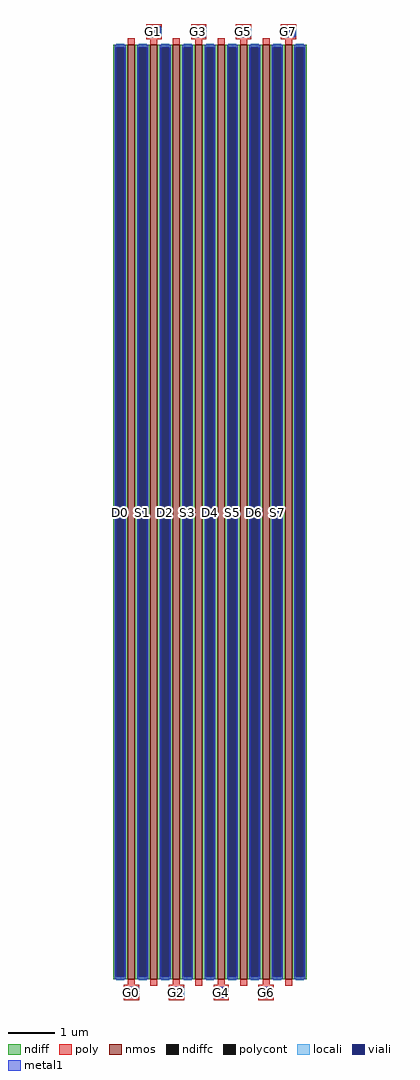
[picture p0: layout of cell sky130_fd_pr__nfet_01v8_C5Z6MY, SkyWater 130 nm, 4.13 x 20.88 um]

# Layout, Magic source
magic
tech sky130A
magscale 1 2
<< nmos >>
rect -351 -2000 -321 2000
rect -255 -2000 -225 2000
rect -159 -2000 -129 2000
rect -63 -2000 -33 2000
rect 33 -2000 63 2000
rect 129 -2000 159 2000
rect 225 -2000 255 2000
rect 321 -2000 351 2000
<< ndiff >>
rect -413 1988 -351 2000
rect -413 -1988 -401 1988
rect -367 -1988 -351 1988
rect -413 -2000 -351 -1988
rect -321 1988 -255 2000
rect -321 -1988 -305 1988
rect -271 -1988 -255 1988
rect -321 -2000 -255 -1988
rect -225 1988 -159 2000
rect -225 -1988 -209 1988
rect -175 -1988 -159 1988
rect -225 -2000 -159 -1988
rect -129 1988 -63 2000
rect -129 -1988 -113 1988
rect -79 -1988 -63 1988
rect -129 -2000 -63 -1988
rect -33 1988 33 2000
rect -33 -1988 -17 1988
rect 17 -1988 33 1988
rect -33 -2000 33 -1988
rect 63 1988 129 2000
rect 63 -1988 79 1988
rect 113 -1988 129 1988
rect 63 -2000 129 -1988
rect 159 1988 225 2000
rect 159 -1988 175 1988
rect 209 -1988 225 1988
rect 159 -2000 225 -1988
rect 255 1988 321 2000
rect 255 -1988 271 1988
rect 305 -1988 321 1988
rect 255 -2000 321 -1988
rect 351 1988 413 2000
rect 351 -1988 367 1988
rect 401 -1988 413 1988
rect 351 -2000 413 -1988
<< ndiffc >>
rect -401 -1988 -367 1988
rect -305 -1988 -271 1988
rect -209 -1988 -175 1988
rect -113 -1988 -79 1988
rect -17 -1988 17 1988
rect 79 -1988 113 1988
rect 175 -1988 209 1988
rect 271 -1988 305 1988
rect 367 -1988 401 1988
<< poly >>
rect -273 2072 -207 2088
rect -273 2038 -257 2072
rect -223 2038 -207 2072
rect -351 2000 -321 2026
rect -273 2022 -207 2038
rect -81 2072 -15 2088
rect -81 2038 -65 2072
rect -31 2038 -15 2072
rect -255 2000 -225 2022
rect -159 2000 -129 2026
rect -81 2022 -15 2038
rect 111 2072 177 2088
rect 111 2038 127 2072
rect 161 2038 177 2072
rect -63 2000 -33 2022
rect 33 2000 63 2026
rect 111 2022 177 2038
rect 303 2072 369 2088
rect 303 2038 319 2072
rect 353 2038 369 2072
rect 129 2000 159 2022
rect 225 2000 255 2026
rect 303 2022 369 2038
rect 321 2000 351 2022
rect -351 -2022 -321 -2000
rect -369 -2038 -303 -2022
rect -255 -2026 -225 -2000
rect -159 -2022 -129 -2000
rect -369 -2072 -353 -2038
rect -319 -2072 -303 -2038
rect -369 -2088 -303 -2072
rect -177 -2038 -111 -2022
rect -63 -2026 -33 -2000
rect 33 -2022 63 -2000
rect -177 -2072 -161 -2038
rect -127 -2072 -111 -2038
rect -177 -2088 -111 -2072
rect 15 -2038 81 -2022
rect 129 -2026 159 -2000
rect 225 -2022 255 -2000
rect 15 -2072 31 -2038
rect 65 -2072 81 -2038
rect 15 -2088 81 -2072
rect 207 -2038 273 -2022
rect 321 -2026 351 -2000
rect 207 -2072 223 -2038
rect 257 -2072 273 -2038
rect 207 -2088 273 -2072
<< polycont >>
rect -257 2038 -223 2072
rect -65 2038 -31 2072
rect 127 2038 161 2072
rect 319 2038 353 2072
rect -353 -2072 -319 -2038
rect -161 -2072 -127 -2038
rect 31 -2072 65 -2038
rect 223 -2072 257 -2038
<< locali >>
rect -273 2038 -257 2072
rect -223 2038 -207 2072
rect -81 2038 -65 2072
rect -31 2038 -15 2072
rect 111 2038 127 2072
rect 161 2038 177 2072
rect 303 2038 319 2072
rect 353 2038 369 2072
rect -401 1988 -367 2004
rect -401 -2004 -367 -1988
rect -305 1988 -271 2004
rect -305 -2004 -271 -1988
rect -209 1988 -175 2004
rect -209 -2004 -175 -1988
rect -113 1988 -79 2004
rect -113 -2004 -79 -1988
rect -17 1988 17 2004
rect -17 -2004 17 -1988
rect 79 1988 113 2004
rect 79 -2004 113 -1988
rect 175 1988 209 2004
rect 175 -2004 209 -1988
rect 271 1988 305 2004
rect 271 -2004 305 -1988
rect 367 1988 401 2004
rect 367 -2004 401 -1988
rect -369 -2072 -353 -2038
rect -319 -2072 -303 -2038
rect -177 -2072 -161 -2038
rect -127 -2072 -111 -2038
rect 15 -2072 31 -2038
rect 65 -2072 81 -2038
rect 207 -2072 223 -2038
rect 257 -2072 273 -2038
<< viali >>
rect -257 2038 -223 2072
rect -65 2038 -31 2072
rect 127 2038 161 2072
rect 319 2038 353 2072
rect -401 -1988 -367 1988
rect -305 -1988 -271 1988
rect -209 -1988 -175 1988
rect -113 -1988 -79 1988
rect -17 -1988 17 1988
rect 79 -1988 113 1988
rect 175 -1988 209 1988
rect 271 -1988 305 1988
rect 367 -1988 401 1988
rect -353 -2072 -319 -2038
rect -161 -2072 -127 -2038
rect 31 -2072 65 -2038
rect 223 -2072 257 -2038
<< metal1 >>
rect -269 2072 -211 2078
rect -269 2038 -257 2072
rect -223 2038 -211 2072
rect -269 2032 -211 2038
rect -77 2072 -19 2078
rect -77 2038 -65 2072
rect -31 2038 -19 2072
rect -77 2032 -19 2038
rect 115 2072 173 2078
rect 115 2038 127 2072
rect 161 2038 173 2072
rect 115 2032 173 2038
rect 307 2072 365 2078
rect 307 2038 319 2072
rect 353 2038 365 2072
rect 307 2032 365 2038
rect -407 1988 -361 2000
rect -407 -1988 -401 1988
rect -367 -1988 -361 1988
rect -407 -2000 -361 -1988
rect -311 1988 -265 2000
rect -311 -1988 -305 1988
rect -271 -1988 -265 1988
rect -311 -2000 -265 -1988
rect -215 1988 -169 2000
rect -215 -1988 -209 1988
rect -175 -1988 -169 1988
rect -215 -2000 -169 -1988
rect -119 1988 -73 2000
rect -119 -1988 -113 1988
rect -79 -1988 -73 1988
rect -119 -2000 -73 -1988
rect -23 1988 23 2000
rect -23 -1988 -17 1988
rect 17 -1988 23 1988
rect -23 -2000 23 -1988
rect 73 1988 119 2000
rect 73 -1988 79 1988
rect 113 -1988 119 1988
rect 73 -2000 119 -1988
rect 169 1988 215 2000
rect 169 -1988 175 1988
rect 209 -1988 215 1988
rect 169 -2000 215 -1988
rect 265 1988 311 2000
rect 265 -1988 271 1988
rect 305 -1988 311 1988
rect 265 -2000 311 -1988
rect 361 1988 407 2000
rect 361 -1988 367 1988
rect 401 -1988 407 1988
rect 361 -2000 407 -1988
rect -365 -2038 -307 -2032
rect -365 -2072 -353 -2038
rect -319 -2072 -307 -2038
rect -365 -2078 -307 -2072
rect -173 -2038 -115 -2032
rect -173 -2072 -161 -2038
rect -127 -2072 -115 -2038
rect -173 -2078 -115 -2072
rect 19 -2038 77 -2032
rect 19 -2072 31 -2038
rect 65 -2072 77 -2038
rect 19 -2078 77 -2072
rect 211 -2038 269 -2032
rect 211 -2072 223 -2038
rect 257 -2072 269 -2038
rect 211 -2078 269 -2072
<< labels >>
rlabel ndiffc -384 0 -384 0 0 D0
port 1 nsew
rlabel polycont -336 -2055 -336 -2055 0 G0
port 2 nsew
rlabel ndiffc -288 0 -288 0 0 S1
port 3 nsew
rlabel polycont -240 2055 -240 2055 0 G1
port 4 nsew
rlabel ndiffc -192 0 -192 0 0 D2
port 5 nsew
rlabel polycont -144 -2055 -144 -2055 0 G2
port 6 nsew
rlabel ndiffc -96 0 -96 0 0 S3
port 7 nsew
rlabel polycont -48 2055 -48 2055 0 G3
port 8 nsew
rlabel ndiffc 0 0 0 0 0 D4
port 9 nsew
rlabel polycont 48 -2055 48 -2055 0 G4
port 10 nsew
rlabel ndiffc 96 0 96 0 0 S5
port 11 nsew
rlabel polycont 144 2055 144 2055 0 G5
port 12 nsew
rlabel ndiffc 192 0 192 0 0 D6
port 13 nsew
rlabel polycont 240 -2055 240 -2055 0 G6
port 14 nsew
rlabel ndiffc 288 0 288 0 0 S7
port 15 nsew
rlabel polycont 336 2055 336 2055 0 G7
port 16 nsew
<< properties >>
string gencell sky130_fd_pr__nfet_01v8
string library sky130
string parameters w 20 l 0.150 m 1 nf 8 diffcov 100 polycov 100 guard 0 glc 1 grc 1 gtc 1 gbc 1 tbcov 100 rlcov 100 topc 1 botc 1 poverlap 0 doverlap 1 lmin 0.15 wmin 0.42 class mosfet compatible {sky130_fd_pr__nfet_01v8 sky130_fd_pr__nfet_01v8_lvt  sky130_fd_bs_flash__special_sonosfet_star  sky130_fd_pr__nfet_g5v0d10v5 sky130_fd_pr__nfet_05v0_nvt  sky130_fd_pr__nfet_03v3_nvt} full_metal 0 conn_gates 0 viasrc 100 viadrn 100 viagate 100 viagb 0 viagr 0 viagl 0 viagt 0 doports 1
<< end >>
